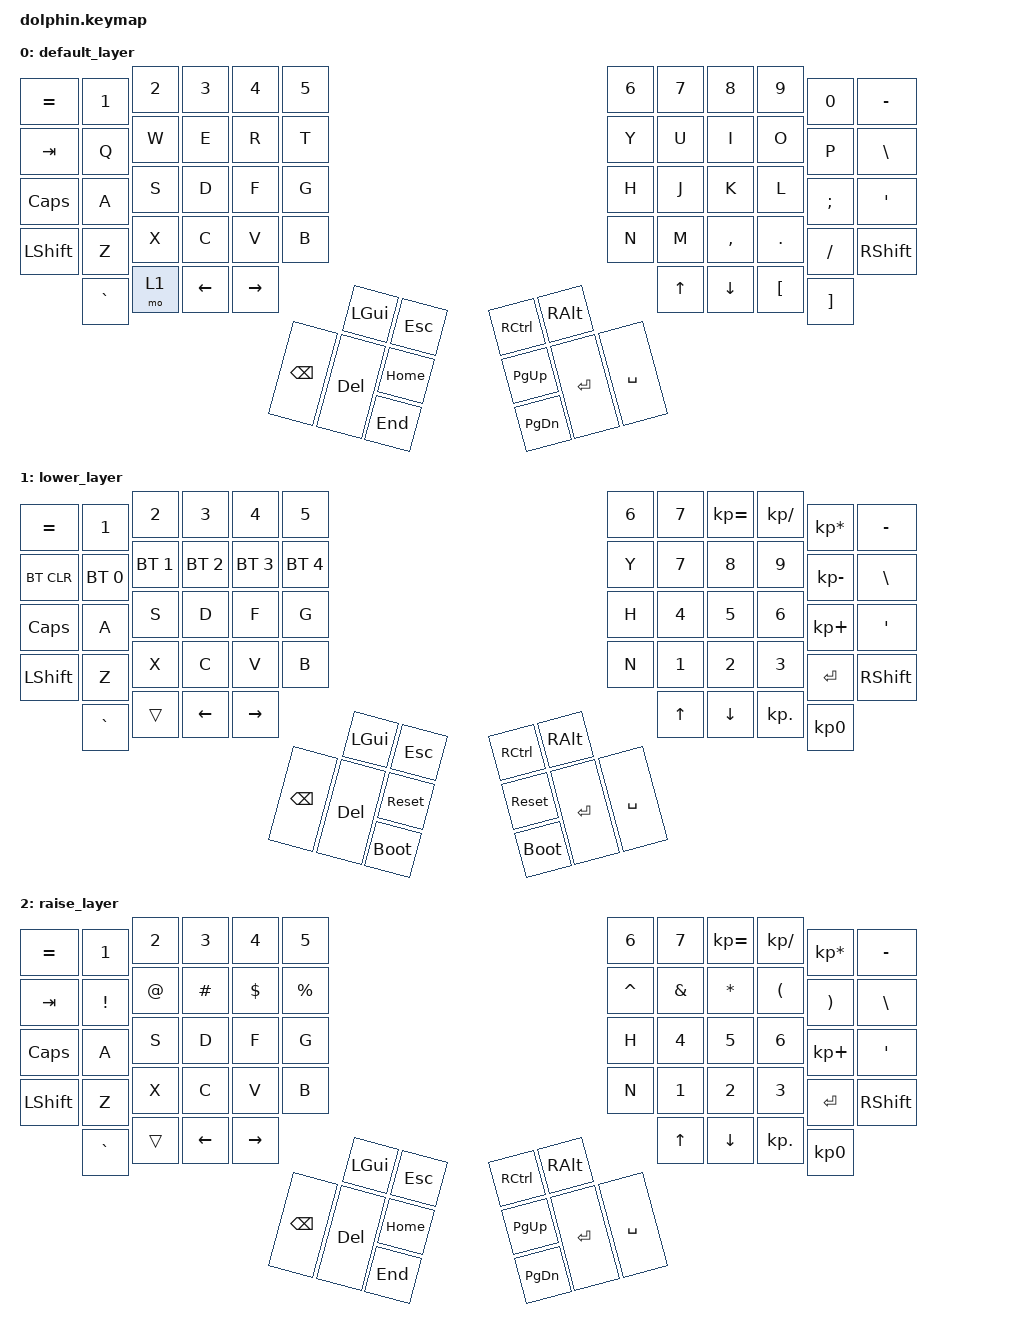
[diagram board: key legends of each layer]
/*
 * Copyright (c) 2020 The ZMK Contributors
 *
 * SPDX-License-Identifier: MIT
 */

#include <behaviors.dtsi>
#include <dt-bindings/zmk/keys.h>
#include <dt-bindings/zmk/bt.h>

/ {
        keymap {
                compatible = "zmk,keymap";

                default_layer {
// ------------------------------------------------------------------------------------------------------------------------------------------------
// | EQUAL|  N1  |  N2  |  N3  |  N4   |  N5   |       |       |     |       |       |   N6  |   N7   |   N8    |   N9   |   N0   |  MINUS |
// | TAB  |  Q   |  W   |  E   |  R    |  T    |       |       |     |       |       |   Y   |   U    |   I     |   O    |   P    |  BSLH  |
// | CAPS |  A   |  S   |  D   |  F    |  G    | LGUI  | ESC   |     | RCTRL | RALT  |   H   |   J    |   K     |   L    |  SEMI  |  SQT   |
// | LSHFT|  Z   |  X   |  C   |  V    |  B    |       | HOME  |     | PG_UP |       |   N   |   M    |  COMMA  |  DOT   |  FSLH  | RSHFT  |
//        | GRAVE| mo1  | LEFT | RIGHT | BSPC  | DEL   | END   |     | PG_DN | ENTER | SPACE |   UP   |  DOWN   |  LBKT  |  RBKT  |
                  bindings = <
                    &kp EQUAL &kp N1    &kp N2   &kp N3   &kp N4    &kp N5                                           &kp N6    &kp N7 &kp N8    &kp N9   &kp N0    &kp MINUS 
                    &kp TAB   &kp Q     &kp W    &kp E    &kp R     &kp T                                            &kp Y     &kp U  &kp I     &kp O    &kp P     &kp BSLH 
                    &kp CAPS  &kp A     &kp S    &kp D    &kp F     &kp G    &kp LGUI &kp ESC    &kp RCTRL &kp RALT  &kp H     &kp J  &kp K     &kp L    &kp SEMI  &kp SQT
                    &kp LSHFT &kp Z     &kp X    &kp C    &kp V     &kp B             &kp HOME   &kp PG_UP           &kp N     &kp M  &kp COMMA &kp DOT  &kp FSLH  &kp RSHFT
                              &kp GRAVE &mo 1    &kp LEFT &kp RIGHT &kp BSPC &kp DEL  &kp END    &kp PG_DN &kp ENTER &kp SPACE &kp UP &kp DOWN  &kp LBKT &kp RBKT
                  >;
                };
                lower_layer {
// ------------------------------------------------------------------------------------------------------------------------------------------------
// | EQUAL|  N1  |  N2  |  N3  |  N4   |  N5   |       |            |     |            |       |   N6  |   N7   | KP_EQUAL | KP_DIVIDE |  KP_MULTIPLY  |  MINUS |
// | BTCLR|  BT0 |  BT1 |  BT2 |  BT3  |  BT4  |       |            |     |            |       |   Y   |   7    |   8      |   9       |  KP_MINUS     |  BSLH  |
// | CAPS |  A   |  S   |  D   |  F    |  G    | LGUI  | ESC        |     | RCTRL      | RALT  |   H   |   4    |   5      |   6       |  KP_PLUS      |  SQT   |
// | LSHFT|  Z   |  X   |  C   |  V    |  B    |       | sys_reset  |     | sys_reset  |       |   N   |   1    |   2      |   3       |  ENTER        | RSHFT  |
//        | GRAVE| mo1  | LEFT | RIGHT | BSPC  | DEL   | bootloader |     | bootloader | ENTER | SPACE |  UP    |  DOWN    |  KP_DOT   |  KP_N0        |
                        bindings = <
                    &kp EQUAL  &kp N1       &kp N2       &kp N3       &kp N4       &kp N5                                              &kp N6    &kp N7 &kp KP_EQUAL &kp KP_DIVIDE &kp KP_MULTIPLY &kp MINUS 
                    &bt BT_CLR &bt BT_SEL 0 &bt BT_SEL 1 &bt BT_SEL 2 &bt BT_SEL 3 &bt BT_SEL 4                                        &kp Y     &kp 7  &kp 8        &kp 9         &kp KP_MINUS    &kp BSLH 
                    &kp CAPS   &kp A        &kp S        &kp D        &kp F        &kp G    &kp LGUI &kp ESC     &kp RCTRL   &kp RALT  &kp H     &kp 4  &kp 5        &kp 6         &kp KP_PLUS     &kp SQT
                    &kp LSHFT  &kp Z        &kp X        &kp C        &kp V        &kp B             &sys_reset  &sys_reset            &kp N     &kp 1  &kp 2        &kp 3         &kp ENTER       &kp RSHFT
                               &kp GRAVE    &trans       &kp LEFT     &kp RIGHT    &kp BSPC &kp DEL  &bootloader &bootloader &kp ENTER &kp SPACE &kp UP &kp DOWN     &kp KP_DOT    &kp KP_N0
                        >;
                };

                raise_layer {
// ------------------------------------------------------------------------------------------------------------------------------------------------
// | EQUAL|  N1  |  N2  |  N3  |  N4   |  N5   |       |       |     |       |       |   N6  |   N7   | KP_EQUAL | KP_DIVIDE |  KP_MULTIPLY  |  MINUS |
// | TAB  |  !   |  @   |  #   |  $    |  %    |       |       |     |       |       |   ^   |   &    |   *      |   (       |  )            |  BSLH  |
// | CAPS |  A   |  S   |  D   |  F    |  G    | LGUI  | ESC   |     | RCTRL | RALT  |   H   |   4    |   5      |   6       |  KP_PLUS      |  SQT   |
// | LSHFT|  Z   |  X   |  C   |  V    |  B    |       | HOME  |     | PG_UP |       |   N   |   1    |   2      |   3       |  ENTER        | RSHFT  |
//        | GRAVE| mo1  | LEFT | RIGHT | BSPC  | DEL   | END   |     | PG_DN | ENTER | SPACE |  UP    |  DOWN    |  KP_DOT   |  KP_N0        |
// -----------------------------------------------------------------------------------------
// |  TAB |  !  |  @  |  #  |  $  |  %  |   |  ^  |  &  |  *  |  (  |  )  | BSPC |
// | CTRL |     |     |     |     |     |   |  -  |  =  |  [  |  ]  |  \  |  `   |
// | SHFT |     |     |     |     |     |   |  _  |  +  |  {  |  }  | "|" |  ~   |
//                    | GUI |     | SPC |   | ENT |     | ALT |
                        bindings = <
                    &kp EQUAL  &kp N1       &kp N2       &kp N3       &kp N4       &kp N5                                           &kp N6    &kp N7         &kp KP_EQUAL &kp KP_DIVIDE        &kp KP_MULTIPLY       &kp MINUS 
                    &kp TAB    &kp EXCL     &kp AT       &kp HASH     &kp DOLLAR   &kp PERCENT                                      &kp CARET &kp AMPERSAND  &kp ASTERISK &kp LEFT_PARENTHESIS &kp RIGHT_PARENTHESIS &kp BSLH
                    &kp CAPS   &kp A        &kp S        &kp D        &kp F        &kp G    &kp LGUI &kp ESC    &kp RCTRL &kp RALT  &kp H     &kp 4          &kp 5        &kp 6                &kp KP_PLUS           &kp SQT
                    &kp LSHFT  &kp Z        &kp X        &kp C        &kp V        &kp B             &kp HOME   &kp PG_UP           &kp N     &kp 1          &kp 2        &kp 3                &kp ENTER             &kp RSHFT
                               &kp GRAVE    &trans       &kp LEFT     &kp RIGHT    &kp BSPC &kp DEL  &kp END    &kp PG_DN &kp ENTER &kp SPACE &kp UP         &kp DOWN     &kp KP_DOT           &kp KP_N0
                        >;
                };
            };
};
